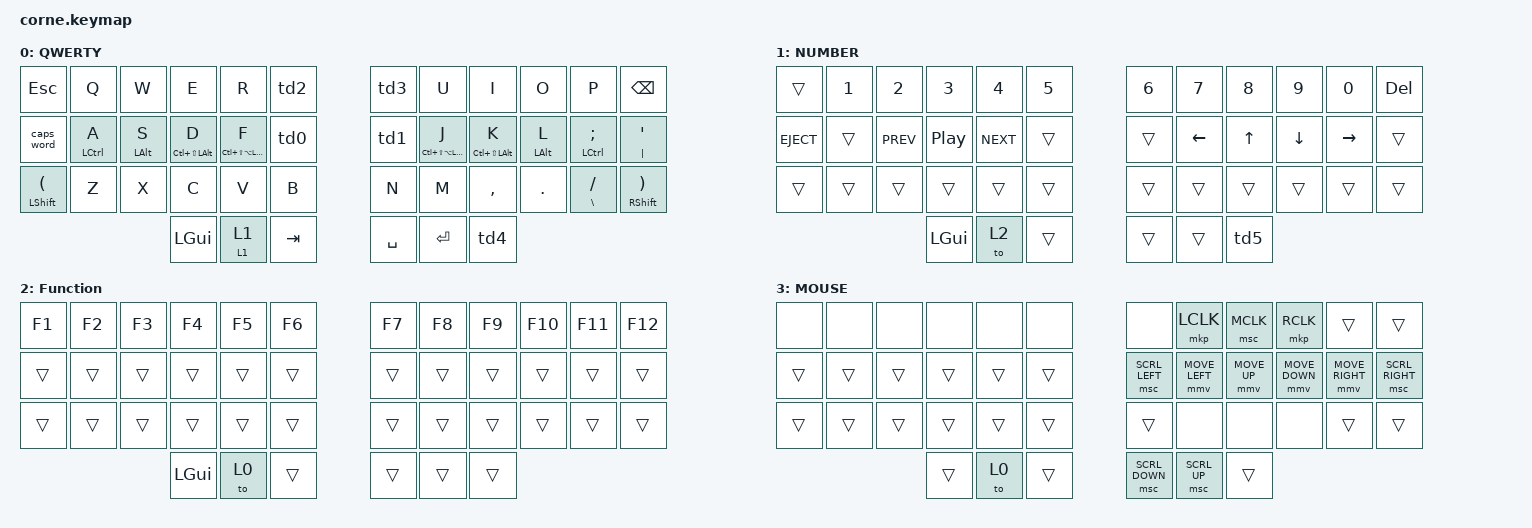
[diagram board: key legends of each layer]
/*
 * Copyright (c) 2020 The ZMK Contributors
 *
 * SPDX-License-Identifier: MIT
 */

#include <behaviors.dtsi>
#include <dt-bindings/zmk/keys.h>
#include <dt-bindings/zmk/bt.h>
#include <dt-bindings/zmk/pointing.h>
#define KEYS_L 0 1 2 3 4 5 12 13 14 15 16 17 24 25 26 27 28 29  // Left-hand keys
#define KEYS_R 6 7 8 9 10 11 18 19 20 21 22 23 30 31 32 33 34 35  // Right-hand keys
#define THUMBS 36 37 38 39 40 41  // Thumb keys

/ {
  chosen {
    zmk,matrix_transform = &default_transform;
    //zmk,matrix_transform = &five_column_transform;
  };
};


/ {
    combos {
        compatible = "zmk,combos";
        
        combo_to_layer {
            timeout-ms = <50>;
            key-positions = <1 10>;
            layers = <0>;
            require-prior-idle-ms = <300>;
            bindings = <&to 3>;
        };
        combo_BT1 {
            timeout-ms = <50>;
            key-positions = <29 0>;
            layers = <0>;
            require-prior-idle-ms = <200>;
            bindings = <&bt BT_SEL 0>;
        };
        combo_BT2 {
            timeout-ms = <50>;
            key-positions = <29 1>;
            layers = <0>;
            require-prior-idle-ms = <200>;
            bindings = <&bt BT_SEL 1>;
        };
        combo_BT3 {
            timeout-ms = <50>;
            key-positions = <29 2>;
            layers = <0>;
            require-prior-idle-ms = <200>;
            bindings = <&bt BT_SEL 2>;
        };
        combo_BT4 {
            timeout-ms = <50>;
            key-positions = <29 3>;
            layers = <0>;
            require-prior-idle-ms = <200>;
            bindings = <&bt BT_SEL 3>;
        };
        combo_BT5 {
            timeout-ms = <50>;
            key-positions = <29 4>;
            layers = <0>;
            require-prior-idle-ms = <200>;
            bindings = <&bt BT_SEL 4>;
        };
        combo_CLR {
            timeout-ms = <100>;
            key-positions = <29 37 11>;
            layers = <0>;
            require-prior-idle-ms = <200>;
            bindings = <&bt BT_CLR>;
        };
    };
};




/ {
    behaviors {
td0: tap_dance_0 {
      compatible = "zmk,behavior-tap-dance";
      label = "TAP_DANCE_0";
      #binding-cells = <0>;
      tapping-term-ms = <200>;
      bindings = <&kp G>, <&kp LBKT>, <&kp LBRC>;
      };
td1: tap_dance_1 {
    compatible = "zmk,behavior-tap-dance";
    label = "TAP_DANCE_1";
    #binding-cells = <0>;
    tapping-term-ms = <200>;
    bindings = <&kp H>, <&kp RBKT>, <&kp RBRC>;
                };
td2: tap_dance_2 {
    compatible = "zmk,behavior-tap-dance";
    label = "TAP_DANCE_2";
    #binding-cells = <0>;
    tapping-term-ms = <200>;
    bindings = <&kp T>, <&kp EQUAL>, <&kp PLUS>;
                };
td3: tap_dance_3 {
    compatible = "zmk,behavior-tap-dance";
    label = "TAP_DANCE_3";
    #binding-cells = <0>;
    tapping-term-ms = <200>;
    bindings = <&kp Y>, <&kp MINUS>, <&kp UNDER>;
                };
td4: tap_dance_4 {
    compatible = "zmk,behavior-tap-dance";
    label = "TAP_DANCE_4";
    #binding-cells = <0>;
    tapping-term-ms = <200>;
    bindings = <&kp LC(Z)>, <&kp LC(Y)>;
                };
td5: tap_dance_5 {
    compatible = "zmk,behavior-tap-dance";
    label = "TAP_DANCE_5";
    #binding-cells = <0>;
    tapping-term-ms = <200>;
    bindings = <&kp LC(C)>, <&kp LC(X)>, <&kp LC(V)>;
                };
slsh: bslash_fslash {
    compatible = "zmk,behavior-hold-tap";
    label = "BSLSH_FSLSH";
    #binding-cells = <2>;
    flavor = "balanced";
    tapping-term-ms = <280>;
    quick-tap-ms = <175>;
    require-prior-idle-ms = <150>;
    bindings = <&kp>, <&kp>;
    hold-trigger-key-positions = <KEYS_R KEYS_L>;
    hold-trigger-on-release;
  };
  sqtpp: sqt_pipe {
      compatible = "zmk,behavior-hold-tap";
      label = "SQT_PIPE";
      #binding-cells = <2>;
      flavor = "balanced";
      tapping-term-ms = <280>;
      quick-tap-ms = <175>;
      require-prior-idle-ms = <150>;
      bindings = <&kp>, <&kp>;
      hold-trigger-key-positions = <KEYS_R KEYS_L>;
      hold-trigger-on-release;
  };
  mo_tog: behavior_mo_tog {
          compatible = "zmk,behavior-hold-tap";
          label = "mo_tog";
          #binding-cells = <2>;
          flavor = "hold-preferred";
          tapping-term-ms = <200>;
          bindings = <&mo>, <&tog>;
  };
  hml: home_row_left {
      compatible = "zmk,behavior-hold-tap";
      label = "HOME_ROW_LEFT";
      #binding-cells = <2>;
      flavor = "balanced";
      tapping-term-ms = <280>;
      quick-tap-ms = <175>;
      require-prior-idle-ms = <150>;
      bindings = <&kp>, <&kp>;
      hold-trigger-key-positions = <KEYS_R THUMBS>;
      hold-trigger-on-release;
  };
  
  hmr: home_row_right {
      compatible = "zmk,behavior-hold-tap";
      label = "HOME_ROW_RIGHT";
      #binding-cells = <2>;
      flavor = "balanced";
      tapping-term-ms = <280>;
      quick-tap-ms = <175>;
      require-prior-idle-ms = <150>;
      bindings = <&kp>, <&kp>;
      hold-trigger-key-positions = <KEYS_L THUMBS>;
      hold-trigger-on-release;
  };

        };

        keymap {
                compatible = "zmk,keymap";

                default_layer {
                        label = "QWERTY";
// -----------------------------------------------------------------------------------------------------------------------------------------------------------
// |  ESC        |  Q         |  W        |  E        |  R         |    |  T = +  |     |  _ - Y |  U           |  I        |  O         |  P       | BKSP   |
// | CAPS (LYR)  |  CTRL / A  |  ATL / S  |  Meh / D  |  Hyper / F |    |  G [ {  |     | } ] H  |  Hyper / J   |  Meh / K  |  ALT / L  | CTRL / ;  |  '     |
// | SHFT (      |  Z         |  X        |  C        |  V         |    |  B      |     |  N     |  M           |  ,        |  .         |  /       | SHFT ) |
//                                        | GUI       | LAYER 1    |    | TAB     |     | SPC    | RSE          | ALT       |
                        bindings = <
   &kp ESC              &kp Q          &kp W         &kp E                 &kp R                     &td2      &td3      &kp U                     &kp I                &kp O         &kp P             &kp BSPC
   &caps_word           &hml LCTRL A   &hml LALT S   &hml LC(LS(LALT)) D   &hml LC(LS(LA(LGUI))) F   &td0      &td1      &hmr LC(LS(LA(LGUI))) J   &hmr LC(LS(LALT)) K  &hmr LALT L   &hmr LCTRL SEMI   &sqtpp PIPE SQT
   &mt LSHFT LPAR       &kp Z          &kp X         &kp C                 &kp V                     &kp B     &kp N     &kp M                     &kp COMMA            &kp DOT       &slsh BSLH FSLH   &mt RSHFT RPAR
                                                     &kp LGUI              &mo_tog 1 1               &kp TAB   &kp SPC   &kp RET                   &td4
                        >;
                };
                lower_layer {
                        label = "NUMBER";
// -----------------------------------------------------------------------------------------
// |  TAB |  1     |  2  |  3  |  4  |  5  |   |  6  |  7  |  8  |  9  |  0  | BKSP |
// | BTCLR| BT_NXT |     | LFT | RGT |     |   |     | UP  | DWN |     |     |      |
// | SHFT |        |     |     |     |     |   |     |     |     |     |     |      |
//                    | GUI |     | SPC |   | ENT |     | ALT |
                        bindings = <
 &trans       &kp N1   &kp N2       &kp N3      &kp N4       &kp N5       &kp N6   &kp N7    &kp N8     &kp N9      &kp N0     &kp DEL
 &kp C_EJECT  &trans   &kp C_PREV   &kp C_PP    &kp C_NEXT   &trans       &trans   &kp LEFT  &kp UP     &kp DOWN    &kp RIGHT  &trans
 &trans       &trans   &trans       &trans      &trans       &trans       &trans   &trans    &trans     &trans      &trans     &trans
                                    &kp LGUI    &to 2        &trans       &trans   &trans    &td5
                        >;
                };

                raise_layer {
                        label = "Function";
// -----------------------------------------------------------------------------------------
// |  TAB |  !  |  @  |  #  |  $  |  %  |   |  ^  |  &  |  *  |  (  |  )  | BKSP |
// | CTRL |     |     |     |     |     |   |  -  |  =  |  [  |  ]  |  \  |  `   |
// | SHFT |     |     |     |     |     |   |  _  |  +  |  {  |  }  | "|" |  ~   |
//                    | GUI |     | SPC |   | ENT |     | ALT |
                        bindings = <
   &kp F1   &kp F2    &kp F3   &kp F4   &kp F5     &kp F6    &kp F7   &kp F8   &kp F9   &kp F10  &kp F11  &kp F12
   &trans   &trans    &trans   &trans   &trans     &trans    &trans   &trans   &trans   &trans   &trans   &trans
   &trans   &trans    &trans   &trans   &trans     &trans    &trans   &trans   &trans   &trans   &trans   &trans
                    	                  &kp LGUI   &to 0     &trans   &trans   &trans   &trans
                        >;
                };
                mouse_layer {
                        label = "MOUSE";
// -----------------------------------------------------------------------------------------
// |  TAB |  !  |  @  |  #  |  $  |  %  |   |  ^  |  &  |  *  |  (  |  )  | BKSP |
// | CTRL |     |     |     |     |     |   |  -  |  =  |  [  |  ]  |  \  |  `   |
// | SHFT |     |     |     |     |     |   |  _  |  +  |  {  |  }  | "|" |  ~   |
//                    | GUI |     | SPC |   | ENT |     | ALT |
                        bindings = <
   &none            &none   &none   &none   &none   &none      &none            &mkp LCLK        &msc MCLK        &mkp RCLK         &trans             &trans
   &trans           &trans  &trans  &trans  &trans  &trans     &msc SCRL_LEFT   &mmv MOVE_LEFT   &mmv MOVE_UP     &mmv MOVE_DOWN    &mmv MOVE_RIGHT    &msc SCRL_RIGHT
   &trans           &trans  &trans  &trans  &trans  &trans     &trans           &none            &none            &none             &trans             &trans
                            &trans  &to 0   &trans             &msc SCRL_DOWN   &msc SCRL_UP     &trans
                        >;
                };
        };
};
